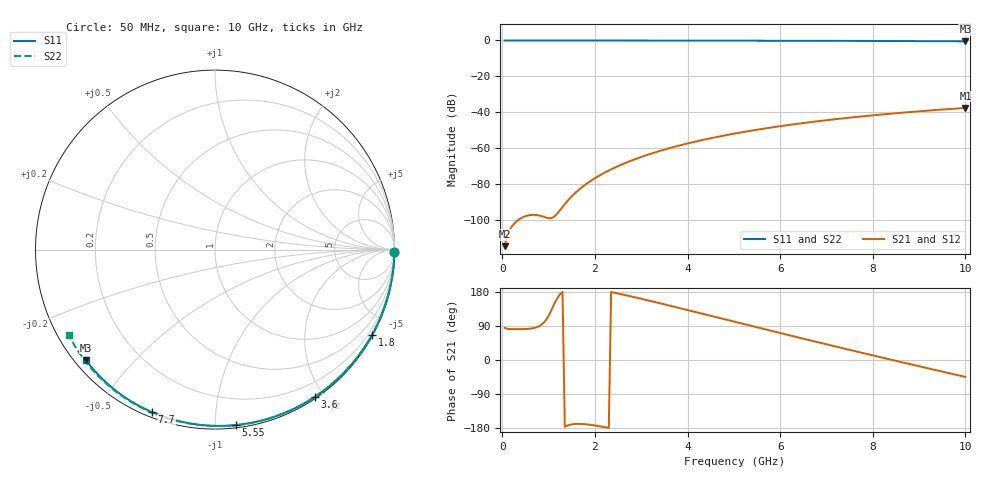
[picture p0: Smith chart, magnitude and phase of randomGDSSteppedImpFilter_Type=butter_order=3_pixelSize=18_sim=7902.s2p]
! freq	dB(S11)	phase(S11)	dB(S12)	phase(S12)
!  dB(S21)	phase(S21)	dB(S22)	phase(S22)
!S-par simulation data
#  GHz  S  DB  R 50
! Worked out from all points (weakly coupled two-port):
!   200 points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, 50 MHz to 10 GHz, reference 50 ohm
!   highest |S21| = -37.49 dB at 10 GHz (marker M1); lowest = -114.3 dB at 50 MHz (marker M2)
!   lowest |S11| = -0.5 dB at 10 GHz (marker M3), VSWR 36.63, Z = 1.55 - j18.4 ohm
!   |S11| at or under -10 dB: nowhere
!   |S22| runs from -0.5 to 0.0 dB; largest |S21 - S12| = 0
!   S11 on the Smith chart (normalised r, x): 50 MHz: open; 1.8 GHz: 0.03, -3.92; 3.6 GHz: 0.02, -1.89; 5.55 GHz: 0.02, -1.12; 7.7 GHz: 0.02, -0.68; 10 GHz: 0.03, -0.37
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0.05  -0.00 -0.8  -114.27 85.0  -114.27 85.0  -0.00 -0.9
0.45  -0.01 -7.3  -98.14 81.5  -98.14 81.5  -0.01 -7.8
0.9  -0.02 -14.4  -98.01 99.4  -98.01 99.4  -0.02 -15.5
1.3  -0.03 -20.8  -92.49 179.6  -92.49 179.6  -0.03 -22.2
1.75  -0.04 -27.8  -80.92 -169.1  -80.92 -169.1  -0.04 -29.8
1.8  -0.04 -28.6  -79.96 -169.6  -79.96 -169.6  -0.04 -30.6
1.95  -0.04 -30.9  -77.32 -171.8  -77.32 -171.8  -0.04 -33.1
2.1  -0.04 -33.3  -74.99 -174.8  -74.99 -174.8  -0.05 -35.6
2.3  -0.05 -36.3  -72.23 -179.4  -72.23 -179.4  -0.05 -38.8
2.5  -0.05 -39.4  -69.80 175.5  -69.80 175.5  -0.05 -42.1
2.9  -0.06 -45.5  -65.63 164.4  -65.63 164.4  -0.06 -48.6
3.4  -0.07 -52.9  -61.37 149.8  -61.37 149.8  -0.08 -56.5
3.6  -0.08 -55.9  -59.89 143.8  -59.89 143.8  -0.08 -59.7
4.3  -0.09 -66.0  -55.42 122.7  -55.42 122.7  -0.10 -70.4
5.05  -0.12 -76.5  -51.56 99.9  -51.56 99.9  -0.13 -81.6
5.55  -0.14 -83.3  -49.38 84.8  -49.38 84.8  -0.15 -88.9
6.1  -0.16 -90.7  -47.26 68.2  -47.26 68.2  -0.17 -96.7
6.7  -0.19 -98.5  -45.22 50.3  -45.22 50.3  -0.21 -105.1
7.7  -0.25 -111.2  -42.35 20.9  -42.35 20.9  -0.27 -118.8
8.35  -0.31 -119.3  -40.76 2.1  -40.76 2.1  -0.33 -127.5
9.2  -0.39 -129.8  -38.95 -22.1  -38.95 -22.1  -0.41 -138.9
10  -0.47 -139.5  -37.49 -44.6  -37.49 -44.6  -0.51 -149.6
